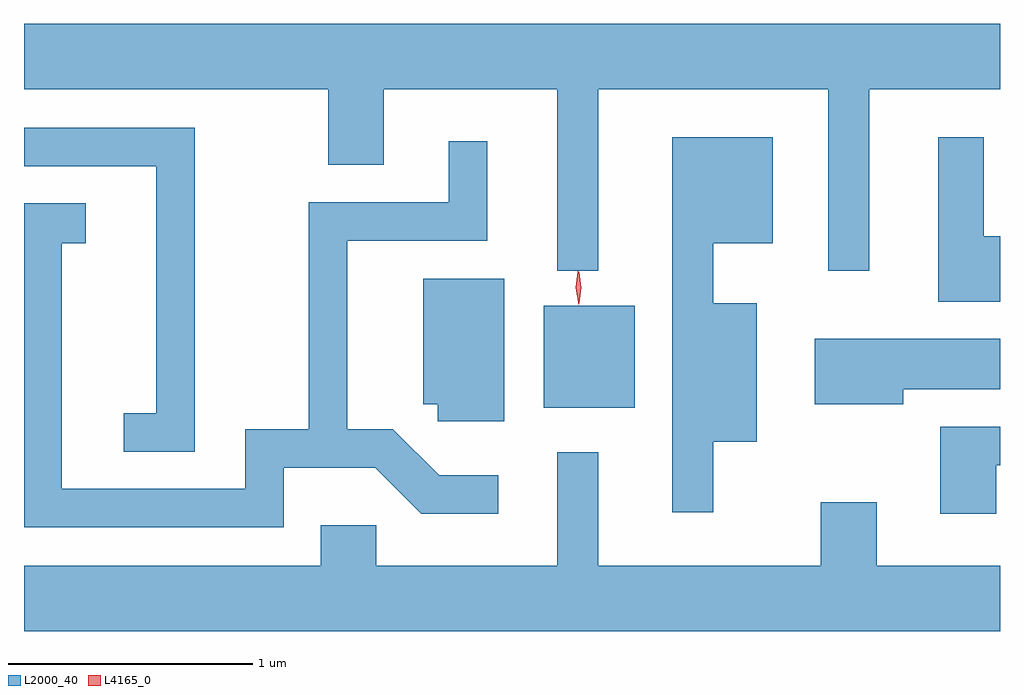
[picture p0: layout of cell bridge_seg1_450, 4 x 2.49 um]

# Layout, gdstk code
import gdstk
lib = gdstk.Library(unit=1e-6, precision=1e-09)
def R(c, l, rs):  # rectangles x0, y0, x1, y1
    for r in rs: c.add(gdstk.rectangle(r[:2], r[2:], *l))
def P(c, l, *ps):  # polygons
    for p in ps: c.add(gdstk.Polygon(p, *l))
L2000_40 = (2000, 40)
L4165_0 = (4165, 0)

bridge_seg1_450 = lib.new_cell('bridge_seg1_450')
R(bridge_seg1_450, L2000_40, [(401.406,904.931,401.779,905.349)])
P(bridge_seg1_450, L2000_40, [(401.629,906.236),(402.571,906.236),(402.571,905.493),(402.739,905.493),(402.739,906.236),(403.275,906.236),(403.275,906.504),(399.275,906.504),(399.275,906.236),(400.521,906.236),(400.521,905.926),(400.749,905.926),(400.749,906.236),(401.461,906.236),(401.461,905.493),(401.629,905.493)],
  [(399.974,906.079),(399.275,906.079),(399.275,905.921),(399.816,905.921),(399.816,904.909),(399.683,904.909),(399.683,904.751),(399.974,904.751)],
  [(403.275,905.634),(403.209,905.634),(403.209,906.039),(403.021,906.039),(403.021,905.366),(403.275,905.366)],
  [(402.099,904.791),(402.279,904.791),(402.279,905.359),(402.099,905.359),(402.099,905.606),(402.344,905.606),(402.344,906.039),(401.931,906.039),(401.931,904.503),(402.099,904.503)],
  [(400.339,904.686),(400.714,904.686),(400.904,904.496),(401.218,904.496),(401.218,904.654),(400.977,904.654),(400.787,904.844),(400.599,904.844),(400.599,905.616),(401.174,905.616),(401.174,906.023),(401.016,906.023),(401.016,905.774),(400.441,905.774),(400.441,904.844),(400.181,904.844),(400.181,904.599),(399.429,904.599),(399.429,905.606),(399.528,905.606),(399.528,905.769),(399.275,905.769),(399.275,904.441),(400.339,904.441)],
  [(401.244,905.459),(400.911,905.459),(400.911,904.946),(400.971,904.946),(400.971,904.876),(401.244,904.876)],
  [(402.879,905.006),(403.275,905.006),(403.275,905.214),(402.516,905.214),(402.516,904.946),(402.879,904.946)],
  [(403.259,904.696),(403.275,904.696),(403.275,904.854),(403.031,904.854),(403.031,904.496),(403.259,904.496)],
  [(403.275,904.284),(402.769,904.284),(402.769,904.544),(402.541,904.544),(402.541,904.284),(401.629,904.284),(401.629,904.748),(401.461,904.748),(401.461,904.284),(400.719,904.284),(400.719,904.449),(400.491,904.449),(400.491,904.284),(399.275,904.284),(399.275,904.016),(403.275,904.016)])
P(bridge_seg1_450, L4165_0, [(401.55,905.358),(401.55,905.358),(401.54,905.422),(401.548,905.487),(401.549,905.487),(401.55,905.487),(401.559,905.423),(401.55,905.358)],
  [(401.548,905.354),(401.537,905.422),(401.545,905.49),(401.545,905.49),(401.546,905.49),(401.557,905.422),(401.549,905.354),(401.549,905.354)])

lib.write_gds('bridge_seg1_450.gds')
